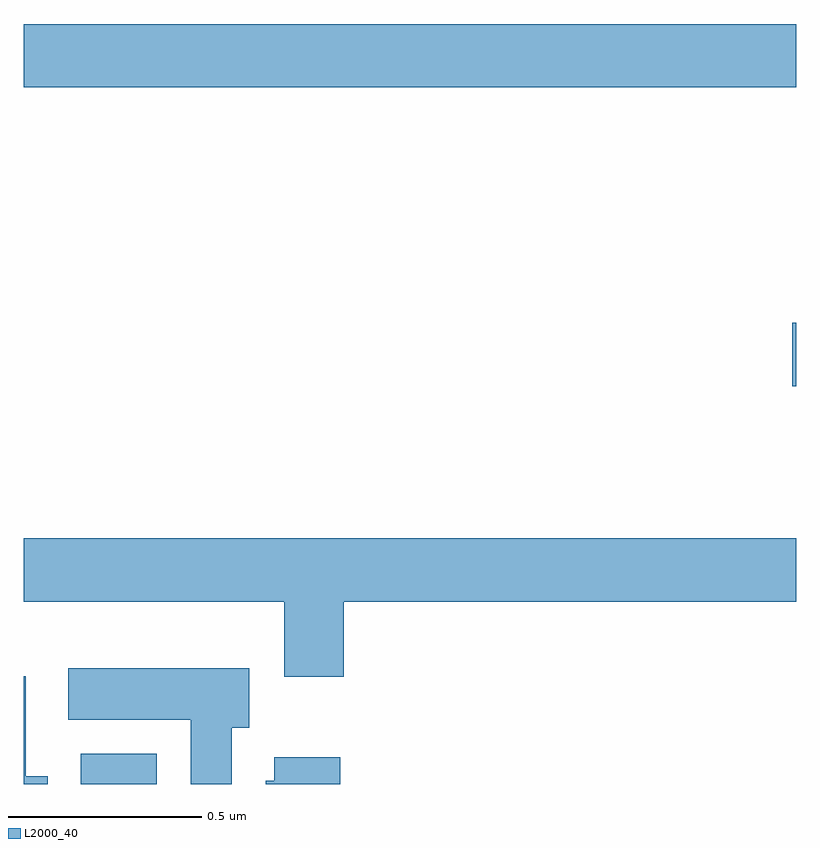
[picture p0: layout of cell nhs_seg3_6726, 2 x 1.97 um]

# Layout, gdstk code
import gdstk
lib = gdstk.Library(unit=1e-6, precision=1e-09)
def R(c, l, rs):  # rectangles x0, y0, x1, y1
    for r in rs: c.add(gdstk.rectangle(r[:2], r[2:], *l))
def P(c, l, *ps):  # polygons
    for p in ps: c.add(gdstk.Polygon(p, *l))
L2000_40 = (2000, 40)

nhs_seg3_6726 = lib.new_cell('nhs_seg3_6726')
R(nhs_seg3_6726, L2000_40, [(194.147,744.4,194.344,744.478), (195.99,745.43,196,745.594), (194,746.204,196,746.368)])
P(nhs_seg3_6726, L2000_40, [(194.828,744.872),(196,744.872),(196,745.036),(194,745.036),(194,744.872),(194.675,744.872),(194.675,744.678),(194.828,744.678)],
  [(194.539,744.546),(194.584,744.546),(194.584,744.7),(194.115,744.7),(194.115,744.566),(194.432,744.566),(194.432,744.4),(194.539,744.4)],
  [(194.062,744.42),(194.005,744.42),(194.005,744.679),(194,744.679),(194,744.4),(194.062,744.4)],
  [(194.819,744.469),(194.648,744.469),(194.648,744.408),(194.627,744.408),(194.627,744.4),(194.819,744.4)])

lib.write_gds('nhs_seg3_6726.gds')
